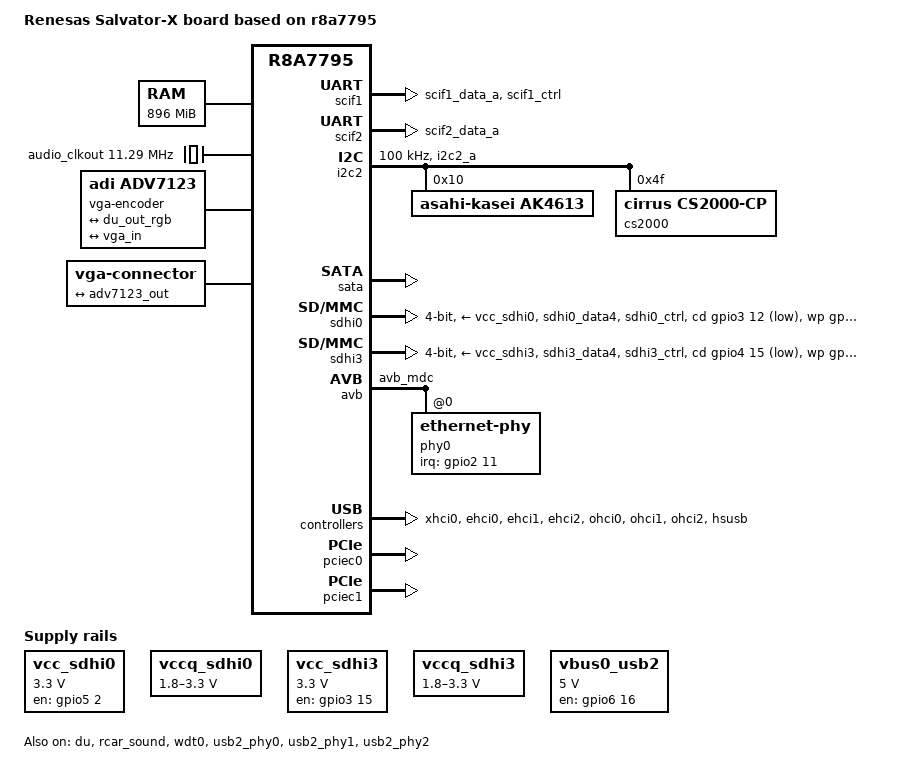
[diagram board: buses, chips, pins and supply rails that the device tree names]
/*
 * Device Tree Source for the Salvator-X board
 *
 * Copyright (C) 2015 Renesas Electronics Corp.
 *
 * This file is licensed under the terms of the GNU General Public License
 * version 2.  This program is licensed "as is" without any warranty of any
 * kind, whether express or implied.
 */

/*
 * SSI-AK4613
 *
 * This command is required when Playback/Capture
 *
 *	amixer set "DVC Out" 100%
 *	amixer set "DVC In" 100%
 *
 * You can use Mute
 *
 *	amixer set "DVC Out Mute" on
 *	amixer set "DVC In Mute" on
 *
 * You can use Volume Ramp
 *
 *	amixer set "DVC Out Ramp Up Rate"   "0.125 dB/64 steps"
 *	amixer set "DVC Out Ramp Down Rate" "0.125 dB/512 steps"
 *	amixer set "DVC Out Ramp" on
 *	aplay xxx.wav &
 *	amixer set "DVC Out"  80%  // Volume Down
 *	amixer set "DVC Out" 100%  // Volume Up
 */

/dts-v1/;
#include "r8a7795.dtsi"
#include <dt-bindings/gpio/gpio.h>

/ {
	model = "Renesas Salvator-X board based on r8a7795";
	compatible = "renesas,salvator-x", "renesas,r8a7795";

	aliases {
		serial0 = &scif2;
		serial1 = &scif1;
		ethernet0 = &avb;
	};

	chosen {
		bootargs = "ignore_loglevel rw root=/dev/nfs ip=dhcp";
		stdout-path = "serial0:115200n8";
	};

	memory@48000000 {
		device_type = "memory";
		/* first 128MB is reserved for secure area. */
		reg = <0x0 0x48000000 0x0 0x38000000>;
	};

	x12_clk: x12_clk {
		compatible = "fixed-clock";
		#clock-cells = <0>;
		clock-frequency = <24576000>;
	};

	vcc_sdhi0: regulator-vcc-sdhi0 {
		compatible = "regulator-fixed";

		regulator-name = "SDHI0 Vcc";
		regulator-min-microvolt = <3300000>;
		regulator-max-microvolt = <3300000>;

		gpio = <&gpio5 2 GPIO_ACTIVE_HIGH>;
		enable-active-high;
	};

	vccq_sdhi0: regulator-vccq-sdhi0 {
		compatible = "regulator-gpio";

		regulator-name = "SDHI0 VccQ";
		regulator-min-microvolt = <1800000>;
		regulator-max-microvolt = <3300000>;

		gpios = <&gpio5 1 GPIO_ACTIVE_HIGH>;
		gpios-states = <1>;
		states = <3300000 1
			  1800000 0>;
	};

	vcc_sdhi3: regulator-vcc-sdhi3 {
		compatible = "regulator-fixed";

		regulator-name = "SDHI3 Vcc";
		regulator-min-microvolt = <3300000>;
		regulator-max-microvolt = <3300000>;

		gpio = <&gpio3 15 GPIO_ACTIVE_HIGH>;
		enable-active-high;
	};

	vccq_sdhi3: regulator-vccq-sdhi3 {
		compatible = "regulator-gpio";

		regulator-name = "SDHI3 VccQ";
		regulator-min-microvolt = <1800000>;
		regulator-max-microvolt = <3300000>;

		gpios = <&gpio3 14 GPIO_ACTIVE_HIGH>;
		gpios-states = <1>;
		states = <3300000 1
			  1800000 0>;
	};

	vbus0_usb2: regulator-vbus0-usb2 {
		compatible = "regulator-fixed";

		regulator-name = "USB20_VBUS0";
		regulator-min-microvolt = <5000000>;
		regulator-max-microvolt = <5000000>;

		gpio = <&gpio6 16 GPIO_ACTIVE_HIGH>;
		enable-active-high;
	};

	audio_clkout: audio_clkout {
		/*
		 * This is same as <&rcar_sound 0>
		 * but needed to avoid cs2000/rcar_sound probe dead-lock
		 */
		compatible = "fixed-clock";
		#clock-cells = <0>;
		clock-frequency = <11289600>;
	};

	rsnd_ak4613: sound {
		compatible = "simple-audio-card";

		simple-audio-card,format = "left_j";
		simple-audio-card,bitclock-master = <&sndcpu>;
		simple-audio-card,frame-master = <&sndcpu>;

		sndcpu: simple-audio-card,cpu {
			sound-dai = <&rcar_sound>;
		};

		sndcodec: simple-audio-card,codec {
			sound-dai = <&ak4613>;
		};
	};

	vga-encoder {
		compatible = "adi,adv7123";

		ports {
			#address-cells = <1>;
			#size-cells = <0>;

			port@0 {
				reg = <0>;
				adv7123_in: endpoint {
					remote-endpoint = <&du_out_rgb>;
				};
			};
			port@1 {
				reg = <1>;
				adv7123_out: endpoint {
					remote-endpoint = <&vga_in>;
				};
			};
		};
	};

	vga {
		compatible = "vga-connector";

		port {
			vga_in: endpoint {
				remote-endpoint = <&adv7123_out>;
			};
		};
	};
};

&du {
	pinctrl-0 = <&du_pins>;
	pinctrl-names = "default";
	status = "okay";

	ports {
		port@0 {
			endpoint {
				remote-endpoint = <&adv7123_in>;
			};
		};
	};
};

&extal_clk {
	clock-frequency = <16666666>;
};

&extalr_clk {
	clock-frequency = <32768>;
};

&pfc {
	pinctrl-0 = <&scif_clk_pins>;
	pinctrl-names = "default";

	scif1_pins: scif1 {
		groups = "scif1_data_a", "scif1_ctrl";
		function = "scif1";
	};
	scif2_pins: scif2 {
		groups = "scif2_data_a";
		function = "scif2";
	};
	scif_clk_pins: scif_clk {
		groups = "scif_clk_a";
		function = "scif_clk";
	};

	i2c2_pins: i2c2 {
		groups = "i2c2_a";
		function = "i2c2";
	};

	avb_pins: avb {
		groups = "avb_mdc";
		function = "avb";
	};

	du_pins: du {
		groups = "du_rgb888", "du_sync", "du_oddf", "du_clk_out_0";
		function = "du";
	};

	sdhi0_pins: sd0 {
		groups = "sdhi0_data4", "sdhi0_ctrl";
		function = "sdhi0";
	};

	sdhi3_pins: sd3 {
		groups = "sdhi3_data4", "sdhi3_ctrl";
		function = "sdhi3";
	};

	sound_pins: sound {
		groups = "ssi01239_ctrl", "ssi0_data", "ssi1_data_a";
		function = "ssi";
	};

	sound_clk_pins: sound_clk {
		groups = "audio_clk_a_a", "audio_clk_b_a", "audio_clk_c_a",
			 "audio_clkout_a", "audio_clkout3_a";
		function = "audio_clk";
	};

	usb0_pins: usb0 {
		groups = "usb0";
		function = "usb0";
	};

	usb1_pins: usb1 {
		groups = "usb1";
		function = "usb1";
	};

	usb2_pins: usb2 {
		groups = "usb2";
		function = "usb2";
	};
};

&scif1 {
	pinctrl-0 = <&scif1_pins>;
	pinctrl-names = "default";

	uart-has-rtscts;
	status = "okay";
};

&scif2 {
	pinctrl-0 = <&scif2_pins>;
	pinctrl-names = "default";

	status = "okay";
};

&scif_clk {
	clock-frequency = <14745600>;
	status = "okay";
};

&i2c2 {
	pinctrl-0 = <&i2c2_pins>;
	pinctrl-names = "default";

	status = "okay";

	clock-frequency = <100000>;

	ak4613: codec@10 {
		compatible = "asahi-kasei,ak4613";
		#sound-dai-cells = <0>;
		reg = <0x10>;
		clocks = <&rcar_sound 3>;

		asahi-kasei,in1-single-end;
		asahi-kasei,in2-single-end;
		asahi-kasei,out1-single-end;
		asahi-kasei,out2-single-end;
		asahi-kasei,out3-single-end;
		asahi-kasei,out4-single-end;
		asahi-kasei,out5-single-end;
		asahi-kasei,out6-single-end;
	};

	cs2000: clk_multiplier@4f {
		#clock-cells = <0>;
		compatible = "cirrus,cs2000-cp";
		reg = <0x4f>;
		clocks = <&audio_clkout>, <&x12_clk>;
		clock-names = "clk_in", "ref_clk";

		assigned-clocks = <&cs2000>;
		assigned-clock-rates = <24576000>; /* 1/1 divide */
	};
};

&rcar_sound {
	pinctrl-0 = <&sound_pins &sound_clk_pins>;
	pinctrl-names = "default";

	/* Single DAI */
	#sound-dai-cells = <0>;

	/* audio_clkout0/1/2/3 */
	#clock-cells = <1>;
	clock-frequency = <11289600>;

	status = "okay";

	/* update <audio_clk_b> to <cs2000> */
	clocks = <&cpg CPG_MOD 1005>,
		 <&cpg CPG_MOD 1006>, <&cpg CPG_MOD 1007>,
		 <&cpg CPG_MOD 1008>, <&cpg CPG_MOD 1009>,
		 <&cpg CPG_MOD 1010>, <&cpg CPG_MOD 1011>,
		 <&cpg CPG_MOD 1012>, <&cpg CPG_MOD 1013>,
		 <&cpg CPG_MOD 1014>, <&cpg CPG_MOD 1015>,
		 <&cpg CPG_MOD 1022>, <&cpg CPG_MOD 1023>,
		 <&cpg CPG_MOD 1024>, <&cpg CPG_MOD 1025>,
		 <&cpg CPG_MOD 1026>, <&cpg CPG_MOD 1027>,
		 <&cpg CPG_MOD 1028>, <&cpg CPG_MOD 1029>,
		 <&cpg CPG_MOD 1030>, <&cpg CPG_MOD 1031>,
		 <&cpg CPG_MOD 1019>, <&cpg CPG_MOD 1018>,
		 <&audio_clk_a>, <&cs2000>,
		 <&audio_clk_c>,
		 <&cpg CPG_CORE R8A7795_CLK_S0D4>;

	rcar_sound,dai {
		dai0 {
			playback = <&ssi0 &src0 &dvc0>;
			capture  = <&ssi1 &src1 &dvc1>;
		};
	};
};

&sata {
	status = "okay";
};

&sdhi0 {
	pinctrl-0 = <&sdhi0_pins>;
	pinctrl-names = "default";

	vmmc-supply = <&vcc_sdhi0>;
	vqmmc-supply = <&vccq_sdhi0>;
	cd-gpios = <&gpio3 12 GPIO_ACTIVE_LOW>;
	wp-gpios = <&gpio3 13 GPIO_ACTIVE_HIGH>;
	bus-width = <4>;
	status = "okay";
};

&sdhi3 {
	pinctrl-0 = <&sdhi3_pins>;
	pinctrl-names = "default";

	vmmc-supply = <&vcc_sdhi3>;
	vqmmc-supply = <&vccq_sdhi3>;
	cd-gpios = <&gpio4 15 GPIO_ACTIVE_LOW>;
	wp-gpios = <&gpio4 16 GPIO_ACTIVE_HIGH>;
	bus-width = <4>;
	status = "okay";
};

&ssi1 {
	shared-pin;
};

&wdt0 {
	timeout-sec = <60>;
	status = "okay";
};

&audio_clk_a {
	clock-frequency = <22579200>;
};

&avb {
	pinctrl-0 = <&avb_pins>;
	pinctrl-names = "default";
	renesas,no-ether-link;
	phy-handle = <&phy0>;
	status = "okay";

	phy0: ethernet-phy@0 {
		rxc-skew-ps = <900>;
		rxdv-skew-ps = <0>;
		rxd0-skew-ps = <0>;
		rxd1-skew-ps = <0>;
		rxd2-skew-ps = <0>;
		rxd3-skew-ps = <0>;
		txc-skew-ps = <900>;
		txen-skew-ps = <0>;
		txd0-skew-ps = <0>;
		txd1-skew-ps = <0>;
		txd2-skew-ps = <0>;
		txd3-skew-ps = <0>;
		reg = <0>;
		interrupt-parent = <&gpio2>;
		interrupts = <11 IRQ_TYPE_LEVEL_LOW>;
	};
};

&xhci0 {
	status = "okay";
};

&usb2_phy0 {
	pinctrl-0 = <&usb0_pins>;
	pinctrl-names = "default";

	vbus-supply = <&vbus0_usb2>;
	status = "okay";
};

&usb2_phy1 {
	pinctrl-0 = <&usb1_pins>;
	pinctrl-names = "default";

	status = "okay";
};

&usb2_phy2 {
	pinctrl-0 = <&usb2_pins>;
	pinctrl-names = "default";

	status = "okay";
};

&ehci0 {
	status = "okay";
};

&ehci1 {
	status = "okay";
};

&ehci2 {
	status = "okay";
};

&ohci0 {
	status = "okay";
};

&ohci1 {
	status = "okay";
};

&ohci2 {
	status = "okay";
};

&hsusb {
	status = "okay";
};

&pcie_bus_clk {
	clock-frequency = <100000000>;
	status = "okay";
};

&pciec0 {
	status = "okay";
};

&pciec1 {
	status = "okay";
};
